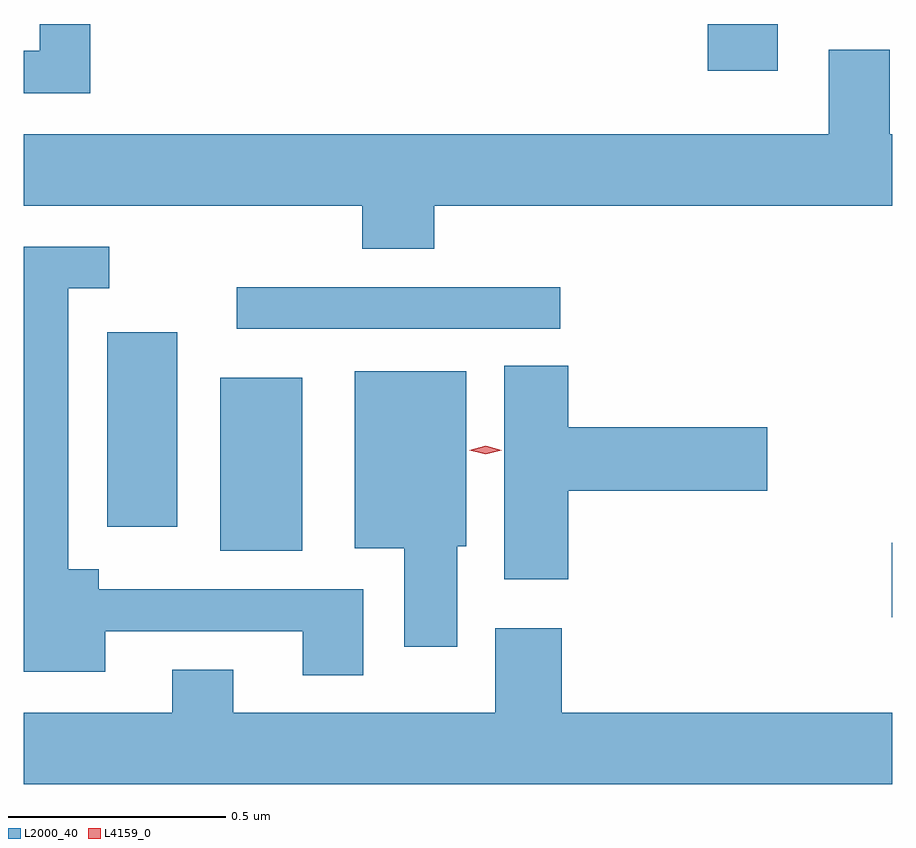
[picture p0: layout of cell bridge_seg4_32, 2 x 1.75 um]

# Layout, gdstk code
import gdstk
lib = gdstk.Library(unit=1e-6, precision=1e-09)
def R(c, l, rs):  # rectangles x0, y0, x1, y1
    for r in rs: c.add(gdstk.rectangle(r[:2], r[2:], *l))
def P(c, l, *ps):  # polygons
    for p in ps: c.add(gdstk.Polygon(p, *l))
L2000_40 = (2000, 40)
L4159_0 = (4159, 0)

bridge_seg4_32 = lib.new_cell('bridge_seg4_32')
R(bridge_seg4_32, L2000_40, [(757.872,786.548,757.873,786.719), (756.326,786.701,756.514,787.099), (756.065,786.756,756.226,787.204), (756.363,787.212,757.108,787.308), (757.448,787.806,757.609,787.914)])
P(bridge_seg4_32, L2000_40, [(756.026,787.914),(755.91,787.914),(755.91,787.852),(755.873,787.852),(755.873,787.755),(756.026,787.755)],
  [(756.818,787.496),(757.873,787.496),(757.873,787.66),(757.867,787.66),(757.867,787.855),(757.727,787.855),(757.727,787.66),(755.873,787.66),(755.873,787.496),(756.653,787.496),(756.653,787.397),(756.818,787.397)],
  [(756.655,786.612),(756.046,786.612),(756.046,786.658),(755.976,786.658),(755.976,787.305),(756.07,787.305),(756.07,787.401),(755.873,787.401),(755.873,786.422),(756.061,786.422),(756.061,786.516),(756.515,786.516),(756.515,786.414),(756.655,786.414)],
  [(757.127,786.839),(757.585,786.839),(757.585,786.986),(757.127,786.986),(757.127,787.127),(756.98,787.127),(756.98,786.636),(757.127,786.636)],
  [(756.871,786.711),(756.892,786.711),(756.892,787.114),(756.635,787.114),(756.635,786.707),(756.749,786.707),(756.749,786.48),(756.871,786.48)],
  [(757.873,786.328),(757.112,786.328),(757.112,786.523),(756.959,786.523),(756.959,786.328),(756.355,786.328),(756.355,786.427),(756.215,786.427),(756.215,786.328),(755.873,786.328),(755.873,786.164),(757.873,786.164)])
P(bridge_seg4_32, L4159_0, [(756.937,786.923),(756.899,786.933),(756.899,786.933),(756.899,786.933),(756.937,786.943),(756.974,786.933),(756.974,786.933),(756.974,786.933)])

lib.write_gds('bridge_seg4_32.gds')
